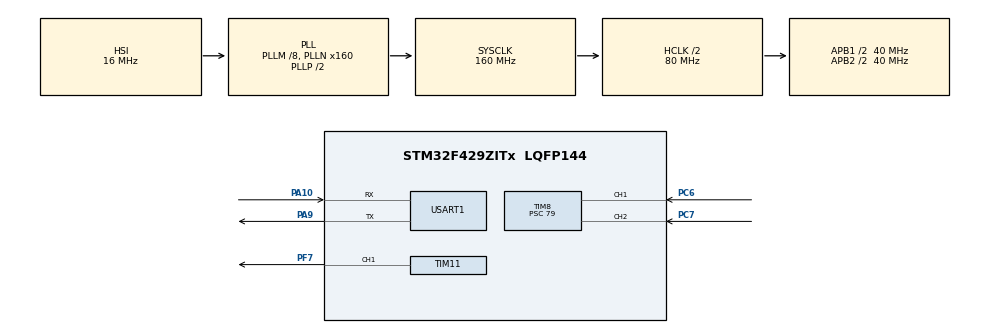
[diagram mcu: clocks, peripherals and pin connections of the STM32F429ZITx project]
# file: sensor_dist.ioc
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Mcu.Family=STM32F4
Mcu.Name=STM32F429ZITx
Mcu.Package=LQFP144
NVIC.PriorityGroup=NVIC_PRIORITYGROUP_4
PA10.Mode=Asynchronous
PA10.Signal=USART1_RX
PA9.Mode=Asynchronous
PA9.Signal=USART1_TX
PC6.Signal=S_TIM8_CH1
PC7.Signal=S_TIM8_CH2
PF7.Signal=S_TIM11_CH1
ProjectManager.HeapSize=0x200
ProjectManager.StackSize=0x400
ProjectManager.TargetToolchain=MDK-ARM V5
RCC.48MHZClocksFreq_Value=80000000
RCC.AHBCLKDivider=RCC_SYSCLK_DIV2
RCC.AHBFreq_Value=80000000
RCC.APB1CLKDivider=RCC_HCLK_DIV2
RCC.APB1Freq_Value=40000000
RCC.APB1TimFreq_Value=80000000
RCC.APB2CLKDivider=RCC_HCLK_DIV2
RCC.APB2Freq_Value=40000000
RCC.APB2TimFreq_Value=80000000
RCC.CortexFreq_Value=80000000
RCC.HCLKFreq_Value=80000000
RCC.HSE_VALUE=25000000
RCC.HSI_VALUE=16000000
RCC.LSE_VALUE=32768
RCC.PLLM=8
RCC.PLLN=160
RCC.SYSCLKFreq_VALUE=160000000
RCC.SYSCLKSource=RCC_SYSCLKSOURCE_PLLCLK
RCC.VCOOutputFreq_Value=320000000
SH.S_TIM11_CH1.0=TIM11_CH1,PWM Generation1 CH1
SH.S_TIM8_CH1.0=TIM8_CH1,Input_Capture1_from_TI1
SH.S_TIM8_CH2.0=TIM8_CH2,TriggerSource_TI2FP2
TIM11.Channel=TIM_CHANNEL_1
TIM11.Period=39999
TIM11.Prescaler=199
TIM8.Channel-Input_Capture1_from_TI1=TIM_CHANNEL_1
TIM8.ICPolarity_CH1=TIM_INPUTCHANNELPOLARITY_BOTHEDGE
TIM8.Period=65535
TIM8.Prescaler=79
USART1.VirtualMode=VM_ASYNC
VP_TIM11_VS_ClockSourceINT.Mode=Enable_Timer
VP_TIM8_VS_ControllerModeReset.Mode=Reset Mode
board=custom

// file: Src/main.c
/* USER CODE BEGIN Header */
/**
  ******************************************************************************
  * @file           : main.c
  * @brief          : Main program body
  ******************************************************************************
  * @attention
  *
  * <h2><center>&copy; Copyright (c) 2020 STMicroelectronics.
  * All rights reserved.</center></h2>
  *
  * This software component is licensed by ST under BSD 3-Clause license,
  * the "License"; You may not use this file except in compliance with the
  * License. You may obtain a copy of the License at:
  *                        opensource.org/licenses/BSD-3-Clause
  *
  ******************************************************************************
  */
/* USER CODE END Header */

#include "main.h"

/* USER CODE BEGIN Includes */
#include "stdio.h"
/* USER CODE END Includes */

/* USER CODE BEGIN PD */
uint32_t echo1,delay;
float dist1;
/* USER CODE END PD */

TIM_HandleTypeDef htim8;
TIM_HandleTypeDef htim11;

UART_HandleTypeDef huart1;

void SystemClock_Config(void);
static void MX_GPIO_Init(void);
static void MX_TIM8_Init(void);
static void MX_TIM11_Init(void);
static void MX_USART1_UART_Init(void);

int main(void)
{
  /* USER CODE BEGIN 1 */
uint8_t data[1];
  /* USER CODE END 1 */

  /* MCU Configuration--------------------------------------------------------*/

  /* Reset of all peripherals, Initializes the Flash interface and the Systick. */
  HAL_Init();

  /* Configure the system clock */
  SystemClock_Config();

  /* Initialize all configured peripherals */
  MX_GPIO_Init();
  MX_TIM8_Init();
  MX_TIM11_Init();
  MX_USART1_UART_Init();
  /* USER CODE BEGIN 2 */
HAL_TIM_Base_Start(&htim11);
HAL_TIM_Base_Start(&htim8);
HAL_TIM_PWM_Start(&htim11, TIM_CHANNEL_1);
HAL_TIM_IC_Start(&htim8, TIM_CHANNEL_1);
TIM11->CCR1 = 1;

  /* USER CODE END 2 */

  /* Infinite loop */
  /* USER CODE BEGIN WHILE */
  while (1)
  {
		if (HAL_GetTick()- delay >= 300)
		{

			delay = HAL_GetTick();
			echo1 = HAL_TIM_ReadCapturedValue(&htim8, TIM_CHANNEL_1);
			dist1 = echo1 / 58.0f;
		//	printf("echo: %u %0.3f", echo1, dist1);
			data[0] = echo1;
			HAL_UART_Transmit(&huart1, data, sizeof(data), HAL_MAX_DELAY );
		}
	}

    /* USER CODE END WHILE */

}

void SystemClock_Config(void)
{
  RCC_OscInitTypeDef RCC_OscInitStruct = {0};
  RCC_ClkInitTypeDef RCC_ClkInitStruct = {0};

  /** Configure the main internal regulator output voltage
  */
  __HAL_RCC_PWR_CLK_ENABLE();
  __HAL_PWR_VOLTAGESCALING_CONFIG(PWR_REGULATOR_VOLTAGE_SCALE3);
  /** Initializes the CPU, AHB and APB busses clocks
  */
  RCC_OscInitStruct.OscillatorType = RCC_OSCILLATORTYPE_HSI;
  RCC_OscInitStruct.HSIState = RCC_HSI_ON;
  RCC_OscInitStruct.HSICalibrationValue = RCC_HSICALIBRATION_DEFAULT;
  RCC_OscInitStruct.PLL.PLLState = RCC_PLL_ON;
  RCC_OscInitStruct.PLL.PLLSource = RCC_PLLSOURCE_HSI;
  RCC_OscInitStruct.PLL.PLLM = 8;
  RCC_OscInitStruct.PLL.PLLN = 160;
  RCC_OscInitStruct.PLL.PLLP = RCC_PLLP_DIV2;
  RCC_OscInitStruct.PLL.PLLQ = 4;
  if (HAL_RCC_OscConfig(&RCC_OscInitStruct) != HAL_OK)
  {
    Error_Handler();
  }
  /** Initializes the CPU, AHB and APB busses clocks
  */
  RCC_ClkInitStruct.ClockType = RCC_CLOCKTYPE_HCLK|RCC_CLOCKTYPE_SYSCLK
                              |RCC_CLOCKTYPE_PCLK1|RCC_CLOCKTYPE_PCLK2;
  RCC_ClkInitStruct.SYSCLKSource = RCC_SYSCLKSOURCE_PLLCLK;
  RCC_ClkInitStruct.AHBCLKDivider = RCC_SYSCLK_DIV2;
  RCC_ClkInitStruct.APB1CLKDivider = RCC_HCLK_DIV2;
  RCC_ClkInitStruct.APB2CLKDivider = RCC_HCLK_DIV2;

  if (HAL_RCC_ClockConfig(&RCC_ClkInitStruct, FLASH_LATENCY_2) != HAL_OK)
  {
    Error_Handler();
  }
}

static void MX_TIM8_Init(void)
{

  TIM_SlaveConfigTypeDef sSlaveConfig = {0};
  TIM_MasterConfigTypeDef sMasterConfig = {0};
  TIM_IC_InitTypeDef sConfigIC = {0};

  htim8.Instance = TIM8;
  htim8.Init.Prescaler = 79;
  htim8.Init.CounterMode = TIM_COUNTERMODE_UP;
  htim8.Init.Period = 65535;
  htim8.Init.ClockDivision = TIM_CLOCKDIVISION_DIV1;
  htim8.Init.RepetitionCounter = 0;
  htim8.Init.AutoReloadPreload = TIM_AUTORELOAD_PRELOAD_DISABLE;
  if (HAL_TIM_Base_Init(&htim8) != HAL_OK)
  {
    Error_Handler();
  }
  if (HAL_TIM_IC_Init(&htim8) != HAL_OK)
  {
    Error_Handler();
  }
  sSlaveConfig.SlaveMode = TIM_SLAVEMODE_RESET;
  sSlaveConfig.InputTrigger = TIM_TS_TI2FP2;
  sSlaveConfig.TriggerPolarity = TIM_TRIGGERPOLARITY_RISING;
  sSlaveConfig.TriggerFilter = 0;
  if (HAL_TIM_SlaveConfigSynchro(&htim8, &sSlaveConfig) != HAL_OK)
  {
    Error_Handler();
  }
  sMasterConfig.MasterOutputTrigger = TIM_TRGO_RESET;
  sMasterConfig.MasterSlaveMode = TIM_MASTERSLAVEMODE_DISABLE;
  if (HAL_TIMEx_MasterConfigSynchronization(&htim8, &sMasterConfig) != HAL_OK)
  {
    Error_Handler();
  }
  sConfigIC.ICPolarity = TIM_INPUTCHANNELPOLARITY_BOTHEDGE;
  sConfigIC.ICSelection = TIM_ICSELECTION_DIRECTTI;
  sConfigIC.ICPrescaler = TIM_ICPSC_DIV1;
  sConfigIC.ICFilter = 0;
  if (HAL_TIM_IC_ConfigChannel(&htim8, &sConfigIC, TIM_CHANNEL_1) != HAL_OK)
  {
    Error_Handler();
  }

}

static void MX_TIM11_Init(void)
{

  TIM_OC_InitTypeDef sConfigOC = {0};

  htim11.Instance = TIM11;
  htim11.Init.Prescaler = 199;
  htim11.Init.CounterMode = TIM_COUNTERMODE_UP;
  htim11.Init.Period = 39999;
  htim11.Init.ClockDivision = TIM_CLOCKDIVISION_DIV1;
  htim11.Init.AutoReloadPreload = TIM_AUTORELOAD_PRELOAD_DISABLE;
  if (HAL_TIM_Base_Init(&htim11) != HAL_OK)
  {
    Error_Handler();
  }
  if (HAL_TIM_PWM_Init(&htim11) != HAL_OK)
  {
    Error_Handler();
  }
  sConfigOC.OCMode = TIM_OCMODE_PWM1;
  sConfigOC.Pulse = 0;
  sConfigOC.OCPolarity = TIM_OCPOLARITY_HIGH;
  sConfigOC.OCFastMode = TIM_OCFAST_DISABLE;
  if (HAL_TIM_PWM_ConfigChannel(&htim11, &sConfigOC, TIM_CHANNEL_1) != HAL_OK)
  {
    Error_Handler();
  }
  HAL_TIM_MspPostInit(&htim11);

}

static void MX_USART1_UART_Init(void)
{

  huart1.Instance = USART1;
  huart1.Init.BaudRate = 115200;
  huart1.Init.WordLength = UART_WORDLENGTH_8B;
  huart1.Init.StopBits = UART_STOPBITS_1;
  huart1.Init.Parity = UART_PARITY_NONE;
  huart1.Init.Mode = UART_MODE_TX_RX;
  huart1.Init.HwFlowCtl = UART_HWCONTROL_NONE;
  huart1.Init.OverSampling = UART_OVERSAMPLING_16;
  if (HAL_UART_Init(&huart1) != HAL_OK)
  {
    Error_Handler();
  }

}

static void MX_GPIO_Init(void)
{

  /* GPIO Ports Clock Enable */
  __HAL_RCC_GPIOF_CLK_ENABLE();
  __HAL_RCC_GPIOC_CLK_ENABLE();
  __HAL_RCC_GPIOA_CLK_ENABLE();

}

void Error_Handler(void)
{
}

/************************ (C) COPYRIGHT STMicroelectronics *****END OF FILE****/
